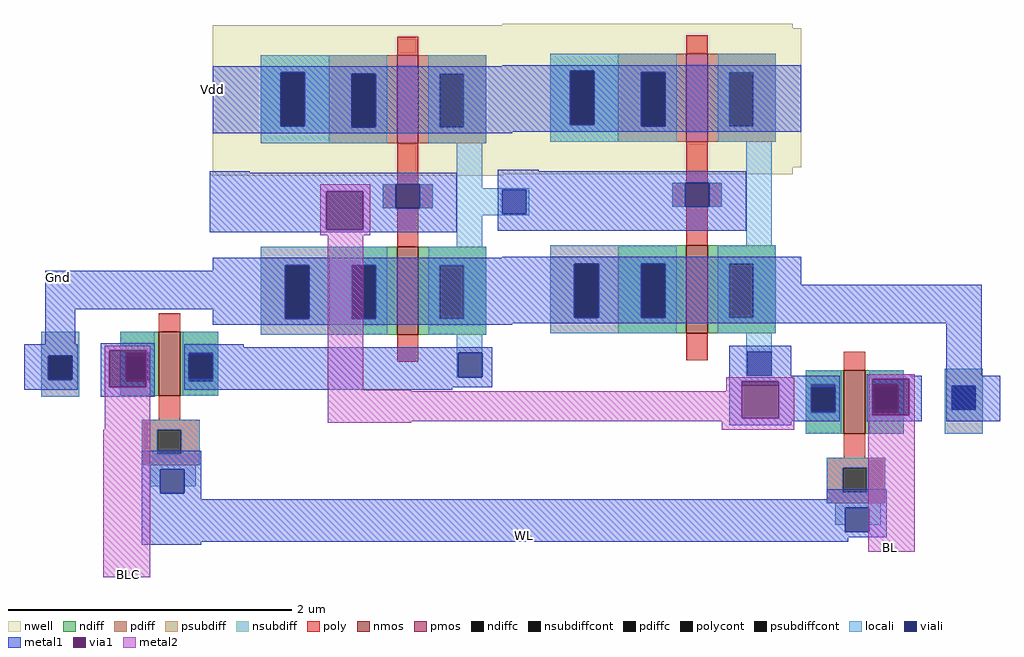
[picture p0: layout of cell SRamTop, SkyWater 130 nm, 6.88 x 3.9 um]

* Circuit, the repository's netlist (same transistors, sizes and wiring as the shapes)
* SPICE3 file created from SRamTop.ext - technology: sky130A

X0 inverter_1/inv_in inverter_0/a_916_238# inverter_1/VP inverter_1/VP sky130_fd_pr__pfet_01v8 ad=0.2976 pd=2.2 as=0.2976 ps=2.2 w=0.62 l=0.15
X1 inverter_1/inv_in inverter_0/a_916_238# Gnd Gnd sky130_fd_pr__nfet_01v8 ad=0.2976 pd=2.2 as=0.2976 ps=2.2 w=0.62 l=0.15
X2 inverter_0/inv_in inverter_1/a_916_238# inverter_1/VP inverter_1/VP sky130_fd_pr__pfet_01v8 ad=0.2976 pd=2.2 as=0.5952 ps=4.4 w=0.62 l=0.15
X3 inverter_0/inv_in inverter_1/a_916_238# Gnd Gnd sky130_fd_pr__nfet_01v8 ad=0.4191 pd=3.64 as=0.5952 ps=4.4 w=0.62 l=0.15
X4 inverter_0/inv_in WL BLC Gnd sky130_fd_pr__nfet_01v8 ad=0.1215 pd=1.44 as=0.1215 ps=1.44 w=0.45 l=0.15
X5 inverter_1/inv_in WL BL Gnd sky130_fd_pr__nfet_01v8 ad=0.4191 pd=3.64 as=0.1215 ps=1.44 w=0.45 l=0.15

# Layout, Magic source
magic
tech sky130A
<< poly >>
rect -240 -24 -225 -14
rect -252 -31 -211 -24
rect -252 -48 -241 -31
rect -224 -48 -211 -31
rect -252 -56 -211 -48
rect 243 -51 258 -39
rect 231 -58 272 -51
rect 231 -75 242 -58
rect 259 -75 272 -58
rect 231 -83 272 -75
<< polycont >>
rect -241 -48 -224 -31
rect 242 -75 259 -58
<< locali >>
rect -16 138 21 139
rect -16 121 2 138
rect 19 121 21 138
rect -16 120 21 121
rect -252 -31 -211 -24
rect -252 -48 -241 -31
rect -224 -48 -211 -31
rect -252 -56 -211 -48
rect -246 -59 -214 -56
rect -246 -71 -239 -59
rect -222 -71 -214 -59
rect 231 -58 272 -51
rect 231 -75 242 -58
rect 259 -75 272 -58
rect 231 -83 272 -75
rect 237 -86 269 -83
rect 237 -98 244 -86
rect 261 -98 269 -86
<< viali >>
rect 2 121 19 138
rect -239 -76 -222 -59
rect 244 -103 261 -86
<< metal1 >>
rect -1 138 9 152
rect -1 121 2 138
rect -1 109 9 121
rect -320 54 -194 81
rect -320 21 -299 54
rect 211 44 340 71
rect -281 25 -243 30
rect -281 -1 -275 25
rect -249 -1 -243 25
rect -281 -8 -243 -1
rect -181 -3 -33 27
rect 162 3 206 28
rect 162 -23 171 3
rect 197 -23 206 3
rect 162 -28 206 -23
rect 259 5 291 8
rect 259 -21 263 5
rect 289 -21 291 5
rect 259 -25 291 -21
rect 315 -25 340 44
rect -252 -59 -210 -46
rect -252 -76 -239 -59
rect -222 -76 -210 -59
rect -252 -80 -210 -76
rect 231 -80 273 -73
rect -252 -86 273 -80
rect -252 -103 244 -86
rect 261 -103 273 -86
rect -252 -107 273 -103
rect -252 -110 246 -107
rect -252 -112 -210 -110
<< via1 >>
rect -122 110 -96 137
rect -275 -1 -249 25
rect 171 -23 197 3
rect 263 -21 289 5
<< metal2 >>
rect -126 137 -91 142
rect -126 110 -122 137
rect -96 110 -91 137
rect -126 106 -91 110
rect -278 25 -246 28
rect -278 -1 -275 25
rect -249 -1 -246 25
rect -278 -31 -246 -1
rect -121 -3 -96 106
rect 160 3 208 6
rect -121 -4 -62 -3
rect 160 -4 171 3
rect -121 -23 171 -4
rect 197 -23 208 3
rect -121 -25 208 -23
rect -121 -26 -62 -25
rect 157 -31 208 -25
rect 260 5 293 8
rect 260 -21 263 5
rect 289 -21 293 5
rect -279 -135 -246 -31
rect 260 -117 293 -21
use inverter  inverter_0
transform 1 0 -336 0 1 7
box 336 -7 549 248
use inverter  inverter_1
transform 1 0 -540 0 1 6
box 336 -7 549 248
use NMOS  NMOS_0
transform 1 0 -230 0 1 -7
box -105 -13 50 58
use NMOS  NMOS_1
transform -1 0 248 0 -1 11
box -105 -13 50 58
<< labels >>
rlabel metal1 18 -106 18 -106 1 WL
port 1 n
rlabel metal1 -311 76 -311 76 1 Gnd
port 2 n
rlabel metal2 -261 -133 -261 -133 1 BLC
port 3 n
rlabel metal2 276 -114 276 -114 1 BL
port 4 n
rlabel space -202 209 -202 209 1 Vdd
port 5 n
<< end >>

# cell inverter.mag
magic
tech sky130A
<< nwell >>
rect 338 245 543 248
rect 338 147 549 245
rect 338 142 543 147
<< nmos >>
rect 468 30 483 92
<< pmos >>
rect 468 165 483 227
<< ndiff >>
rect 420 79 468 92
rect 420 41 436 79
rect 453 41 468 79
rect 420 30 468 41
rect 483 79 531 92
rect 483 41 498 79
rect 515 41 531 79
rect 483 30 531 41
<< pdiff >>
rect 420 214 468 227
rect 420 176 436 214
rect 453 176 468 214
rect 420 165 468 176
rect 483 214 531 227
rect 483 176 498 214
rect 515 176 531 214
rect 483 165 531 176
<< ndiffc >>
rect 436 41 453 79
rect 498 41 515 79
<< pdiffc >>
rect 436 176 453 214
rect 498 176 515 214
<< psubdiff >>
rect 372 79 420 92
rect 372 41 389 79
rect 406 41 420 79
rect 372 30 420 41
<< nsubdiff >>
rect 372 215 420 227
rect 372 177 386 215
rect 403 177 420 215
rect 372 165 420 177
<< psubdiffcont >>
rect 389 41 406 79
<< nsubdiffcont >>
rect 386 177 403 215
<< poly >>
rect 468 227 483 240
rect 468 136 483 165
rect 458 119 493 136
rect 468 92 483 119
rect 468 11 483 30
<< locali >>
rect 372 215 461 227
rect 372 177 386 215
rect 403 214 461 215
rect 403 177 436 214
rect 372 176 436 177
rect 453 176 461 214
rect 372 165 461 176
rect 490 214 531 227
rect 490 176 498 214
rect 515 176 531 214
rect 490 165 531 176
rect 458 119 467 136
rect 484 119 493 136
rect 510 92 528 165
rect 372 79 461 92
rect 372 41 389 79
rect 406 41 436 79
rect 453 41 461 79
rect 372 30 461 41
rect 490 79 531 92
rect 490 41 498 79
rect 515 41 531 79
rect 490 30 531 41
rect 510 17 528 30
rect 510 0 511 17
<< viali >>
rect 386 177 403 215
rect 436 176 453 214
rect 467 119 484 136
rect 389 41 406 79
rect 436 41 453 79
rect 511 0 528 17
<< metal1 >>
rect 338 215 549 219
rect 338 177 386 215
rect 403 214 549 215
rect 403 177 436 214
rect 338 176 436 177
rect 453 176 549 214
rect 338 172 549 176
rect 336 144 364 145
rect 336 136 510 144
rect 336 119 467 136
rect 484 119 510 136
rect 336 102 510 119
rect 338 79 549 84
rect 338 41 389 79
rect 406 41 436 79
rect 453 41 549 79
rect 338 37 549 41
rect 503 17 535 21
rect 503 0 511 17
rect 528 0 535 17
rect 503 -7 535 0
<< labels >>
rlabel metal1 518 -7 518 -7 5 inv_out
port 1 s
rlabel metal1 338 60 338 60 7 VN
port 2 w
rlabel metal1 338 194 338 194 7 VP
port 4 w
rlabel metal1 338 124 338 124 7 inv_in
port 3 w
<< end >>

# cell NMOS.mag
magic
tech sky130A
<< nmos >>
rect -10 0 5 45
<< ndiff >>
rect -37 30 -10 45
rect -37 10 -33 30
rect -16 10 -10 30
rect -37 0 -10 10
rect 5 30 32 45
rect 5 10 11 30
rect 28 10 32 30
rect 5 0 32 10
<< ndiffc >>
rect -33 10 -16 30
rect 11 10 28 30
<< psubdiff >>
rect -93 28 -66 45
rect -93 11 -88 28
rect -71 11 -66 28
rect -93 -1 -66 11
<< psubdiffcont >>
rect -88 11 -71 28
<< poly >>
rect -10 45 5 58
rect -10 -13 5 0
<< locali >>
rect -93 28 -66 45
rect -93 11 -88 28
rect -71 11 -66 28
rect -93 -1 -66 11
rect -37 30 -13 45
rect -37 10 -33 30
rect -16 10 -13 30
rect -37 0 -13 10
rect 7 30 32 45
rect 7 10 11 30
rect 28 10 32 30
rect 7 0 32 10
<< viali >>
rect -88 11 -71 28
rect -33 11 -16 28
rect 11 12 28 29
<< metal1 >>
rect -105 28 -67 36
rect -105 11 -88 28
rect -71 11 -67 28
rect -105 4 -67 11
rect -50 28 -13 36
rect -50 11 -33 28
rect -16 11 -13 28
rect -50 4 -13 11
rect 8 29 50 36
rect 8 12 11 29
rect 28 12 50 29
rect 8 4 50 12
<< end >>
